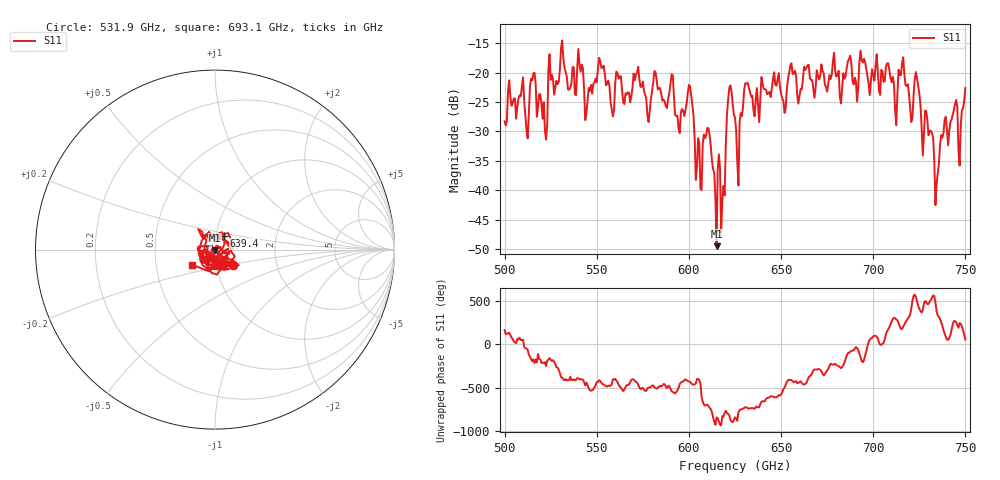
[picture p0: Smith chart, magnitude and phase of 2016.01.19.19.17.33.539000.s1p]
!Created with skrf (http://scikit-rf.org).
# GHz S RI R 50.0
!freq ReS11 ImS11
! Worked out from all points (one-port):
!   401 points, 500 GHz to 750 GHz, reference 50 ohm
!   lowest |S11| = -49.5 dB at 615 GHz (marker M1), VSWR 1.01, Z = 49.8 - j0.275 ohm
!   |S11| at or under -10 dB: start of sweep to end of sweep
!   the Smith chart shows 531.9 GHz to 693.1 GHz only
!   S11 on the Smith chart (normalised r, x): 531.9 GHz: 1.20, -0.21; 639.4 GHz: 1.09, +0.17; 693.1 GHz: 0.76, -0.13
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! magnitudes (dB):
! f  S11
! 500 GHz  -28.3
! 508.8 GHz  -24.1
! 511.9 GHz  -29.8
! 515.6 GHz  -20.1
! 521.9 GHz  -29.9
! 525 GHz  -21.2
! 531.2 GHz  -14.5
! 531.9 GHz  -17.6
! 544.4 GHz  -26.9
! 562.5 GHz  -20.6
! 590.6 GHz  -20.3
! 593.8 GHz  -27.3
! 600.6 GHz  -22.3
! 605 GHz  -31.1
! 610 GHz  -29.4
! 615 GHz  -49.5
! 618.8 GHz  -39.3
! 621.9 GHz  -22.6
! 625 GHz  -27.7
! 639.4 GHz  -20.7
! 656.2 GHz  -20.2
! 687.5 GHz  -17.1
! 693.1 GHz  -16.2
! 718.8 GHz  -22.0
! 723.8 GHz  -20.9
! 734.4 GHz  -39.0
! 738.1 GHz  -30.2
! 750 GHz  -22.6
